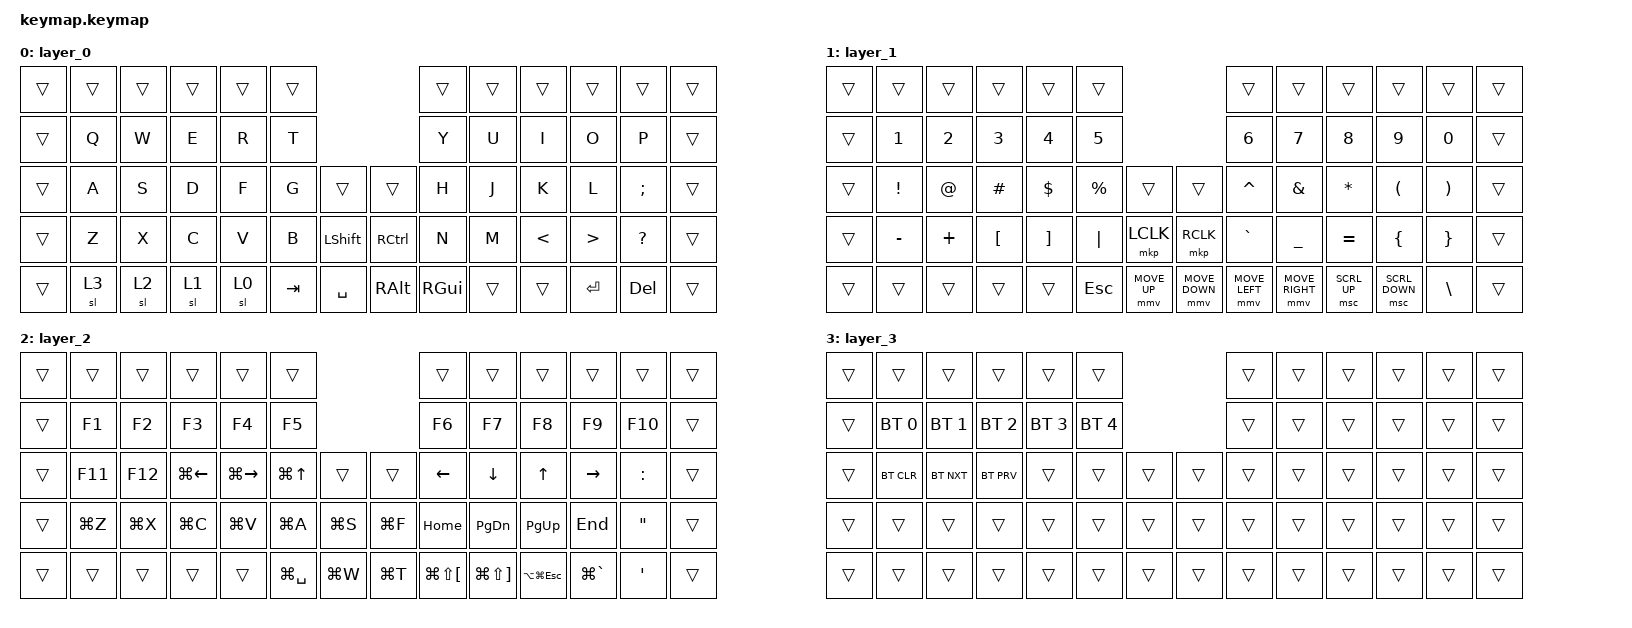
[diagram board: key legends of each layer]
#include <behaviors.dtsi>
#include <dt-bindings/zmk/bt.h>
#include <dt-bindings/zmk/keys.h>
#include <dt-bindings/zmk/mouse.h>
/ {
    combos {
        compatible = "zmk,combos";
        bt_clear {
            bindings = <&bt BT_CLR>;
            key-positions = <28 29>;
        };
    };
    keymap {
        compatible = "zmk,keymap";
        layer_0 {
            bindings = <
&trans  &trans  &trans  &trans  &trans  &trans                                      &trans         &trans  &trans         &trans            &trans        &trans
&trans  &kp Q   &kp W   &kp E   &kp R   &kp T                                       &kp Y          &kp U   &kp I          &kp O             &kp P         &trans
&trans  &kp A   &kp S   &kp D   &kp F   &kp G    &trans          &trans             &kp H          &kp J   &kp K          &kp L             &kp SEMI      &trans
&trans  &kp Z   &kp X   &kp C   &kp V   &kp B    &kp LEFT_SHIFT  &kp RIGHT_CONTROL  &kp N          &kp M   &kp LESS_THAN  &kp GREATER_THAN  &kp QUESTION  &trans
&trans  &sl 3   &sl 2   &sl 1   &sl 0   &kp TAB  &kp SPACE       &kp RIGHT_ALT      &kp RIGHT_GUI  &trans  &trans         &kp RETURN        &kp DEL       &trans
            >;
        };
        layer_1 {
            bindings = <
&trans  &trans       &trans        &trans        &trans         &trans                                      &trans         &trans         &trans          &trans           &trans          &trans
&trans  &kp N1       &kp N2        &kp N3        &kp N4         &kp N5                                      &kp N6         &kp N7         &kp N8          &kp N9           &kp N0          &trans
&trans  &kp EXCL     &kp AT        &kp HASH      &kp DOLLAR     &kp PERCENT  &trans         &trans         &kp CARET      &kp AMPERSAND  &kp ASTERISK    &kp LPAR         &kp RPAR        &trans
&trans  &kp MINUS    &kp PLUS      &kp LBKT      &kp RBKT       &kp PIPE     &mkp LCLK      &mkp RCLK      &kp GRAVE      &kp UNDER      &kp EQUAL       &kp LBRC         &kp RBRC        &trans
&trans  &trans       &trans        &trans        &trans         &kp ESC      &mmv MOVE_UP   &mmv MOVE_DOWN &mmv MOVE_LEFT &mmv MOVE_RIGHT &msc SCRL_UP    &msc SCRL_DOWN   &kp BSLH        &trans
            >;
        };
        layer_2 {
            bindings = <
&trans  &trans       &trans         &trans         &trans          &trans                                      &trans           &trans           &trans         &trans        &trans         &trans
&trans  &kp F1       &kp F2         &kp F3         &kp F4          &kp F5                                      &kp F6           &kp F7           &kp F8         &kp F9        &kp F10        &trans
&trans  &kp F11      &kp F12        &kp LG(LEFT)   &kp LG(RIGHT)   &kp LG(UP)     &trans       &trans         &kp LEFT         &kp DOWN         &kp UP         &kp RIGHT     &kp COLON      &trans
&trans  &kp LG(Z)    &kp LG(X)      &kp LG(C)      &kp LG(V)       &kp LG(A)      &kp LG(S)    &kp LG(F)      &kp HOME         &kp PG_DN        &kp PG_UP      &kp END       &kp DQT        &trans
&trans  &trans       &trans         &trans         &trans          &kp LG(SPACE)  &kp LG(W)    &kp LG(T)      &kp LG(LS(LBKT)) &kp LG(LS(RBKT)) &kp LA(LG(ESC)) &kp LG(GRAVE) &kp SQT        &trans
            >;
        };
        layer_3 {
            bindings = <
&trans  &trans        &trans        &trans        &trans        &trans                                    &trans    &trans    &trans    &trans     &trans    &trans
&trans  &bt BT_SEL 0  &bt BT_SEL 1  &bt BT_SEL 2  &bt BT_SEL 3  &bt BT_SEL 4                              &trans    &trans    &trans    &trans     &trans    &trans
&trans  &bt BT_CLR    &bt BT_NXT    &bt BT_PRV    &trans        &trans        &trans       &trans         &trans    &trans    &trans    &trans     &trans    &trans
&trans  &trans        &trans        &trans        &trans        &trans        &trans       &trans         &trans    &trans    &trans    &trans     &trans    &trans
&trans  &trans        &trans        &trans        &trans        &trans        &trans       &trans         &trans    &trans    &trans    &trans     &trans    &trans
            >;
        };
    };
};
